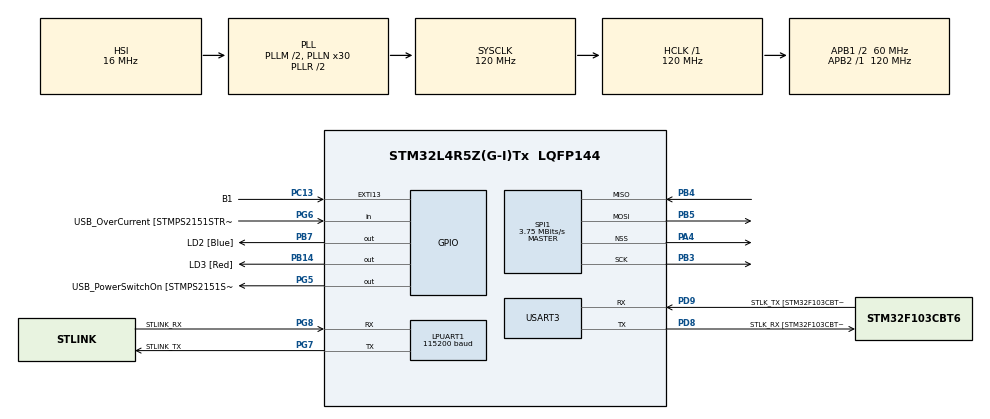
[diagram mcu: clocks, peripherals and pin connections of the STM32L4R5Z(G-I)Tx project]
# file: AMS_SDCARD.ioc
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FATFS._MAX_SS=4096
FATFS._USE_FIND=1
FATFS._USE_LFN=1
LPUART1.BaudRate=115200
LPUART1.WordLength=UART_WORDLENGTH_8B
Mcu.Family=STM32L4
Mcu.Name=STM32L4R5Z(G-I)Tx
Mcu.Package=LQFP144
NVIC.PriorityGroup=NVIC_PRIORITYGROUP_4
PA10.GPIO_Label=USB_ID
PA10.Signal=USB_OTG_FS_ID
PA11.GPIO_Label=USB_DM
PA11.Signal=USB_OTG_FS_DM
PA12.GPIO_Label=USB_DP
PA12.Signal=USB_OTG_FS_DP
PA13\ (JTMS/SWDIO).GPIO_Label=TMS
PA13\ (JTMS/SWDIO).Mode=Serial_Wire
PA13\ (JTMS/SWDIO).Signal=SYS_JTMS-SWDIO
PA14\ (JTCK/SWCLK).GPIO_Label=TCK
PA14\ (JTCK/SWCLK).Mode=Serial_Wire
PA14\ (JTCK/SWCLK).Signal=SYS_JTCK-SWCLK
PA4.Mode=NSS_Signal_Hard_Output
PA4.Signal=SPI1_NSS
PA8.GPIO_Label=USB_SOF [TP1]
PA8.Signal=USB_OTG_FS_SOF
PA9.GPIO_Label=USB_VBUS
PA9.Signal=USB_OTG_FS_VBUS
PB14.GPIO_Label=LD3 [Red]
PB14.Signal=GPIO_Output
PB3\ (JTDO/TRACESWO).Mode=Full_Duplex_Master
PB3\ (JTDO/TRACESWO).Signal=SPI1_SCK
PB4\ (NJTRST).Mode=Full_Duplex_Master
PB4\ (NJTRST).Signal=SPI1_MISO
PB5.Mode=Full_Duplex_Master
PB5.Signal=SPI1_MOSI
PB7.GPIO_Label=LD2 [Blue]
PB7.Signal=GPIO_Output
PC13.GPIO_Label=B1
PC13.Signal=GPXTI13
PC14-OSC32_IN\ (PC14).Mode=LSE-External-Oscillator
PC14-OSC32_IN\ (PC14).Signal=RCC_OSC32_IN
PC15-OSC32_OUT\ (PC15).Mode=LSE-External-Oscillator
PC15-OSC32_OUT\ (PC15).Signal=RCC_OSC32_OUT
PD8.GPIO_Label=STLK_RX [STM32F103CBT6_PA3]
PD8.Mode=Asynchronous
PD8.Signal=USART3_TX
PD9.GPIO_Label=STLK_TX [STM32F103CBT6_PA2]
PD9.Mode=Asynchronous
PD9.Signal=USART3_RX
PG5.GPIO_Label=USB_PowerSwitchOn [STMPS2151STR_EN]
PG5.Signal=GPIO_Output
PG6.GPIO_Label=USB_OverCurrent [STMPS2151STR_FAULT]
PG6.Signal=GPIO_Input
PG7.GPIO_Label=STLINK_TX
PG7.Mode=Asynchronous
PG7.Signal=LPUART1_TX
PG8.GPIO_Label=STLINK_RX
PG8.Mode=Asynchronous
PG8.Signal=LPUART1_RX
PH0-OSC_IN\ (PH0).Signal=RCC_OSC_IN
PH1-OSC_OUT\ (PH1).Signal=RCC_OSC_OUT
ProjectManager.HeapSize=0x400
ProjectManager.StackSize=0x800
ProjectManager.TargetToolchain=STM32CubeIDE
RCC.48MHZClocksFreq_Value=24000000
RCC.ADCFreq_Value=96000000
RCC.AHBFreq_Value=120000000
RCC.APB1CLKDivider=RCC_HCLK_DIV2
RCC.APB1Freq_Value=60000000
RCC.APB1TimFreq_Value=120000000
RCC.APB2Freq_Value=120000000
RCC.APB2TimFreq_Value=120000000
RCC.CK48CLockSelection=RCC_USBCLKSOURCE_HSI48
RCC.CortexFreq_Value=120000000
RCC.HCLKFreq_Value=120000000
RCC.HSE_VALUE=8000000
RCC.HSI48_VALUE=48000000
RCC.HSI_VALUE=16000000
RCC.MSI_VALUE=4000000
RCC.PLLM1=2
RCC.PLLMUL=RCC_PLL_MUL9
RCC.PLLN=30
RCC.PLLSAI1N=12
RCC.PLLSourceVirtual=RCC_PLLSOURCE_HSI
RCC.PRESCALERUSB=RCC_USBCLKSOURCE_PLL_DIV1_5
RCC.SYSCLKFreq_VALUE=120000000
RCC.SYSCLKSource=RCC_SYSCLKSOURCE_PLLCLK
RCC.SYSCLKSourceVirtual=RCC_SYSCLKSOURCE_PLLCLK
RCC.USBFreq_Value=48000000
RCC.VCOOutputFreq_Value=240000000
SPI1.BaudRatePrescaler=SPI_BAUDRATEPRESCALER_32
SPI1.CalculateBaudRate=3.75 MBits/s
SPI1.DataSize=SPI_DATASIZE_8BIT
SPI1.Direction=SPI_DIRECTION_2LINES
SPI1.Mode=SPI_MODE_MASTER
SPI1.VirtualNSS=VM_NSSHARD
SPI1.VirtualType=VM_MASTER
USART3.VirtualMode-Asynchronous=VM_ASYNC
VP_FATFS_VS_Generic.Mode=User_defined
board=NUCLEO-L4R5ZI

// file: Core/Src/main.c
/* USER CODE BEGIN Header */
/**
  ******************************************************************************
  * @file           : main.c
  * @brief          : Main program body
  ******************************************************************************
  * @attention
  *
  * Copyright (c) 2022 STMicroelectronics.
  * All rights reserved.
  *
  * This software is licensed under terms that can be found in the LICENSE file
  * in the root directory of this software component.
  * If no LICENSE file comes with this software, it is provided AS-IS.
  *
  ******************************************************************************
  */
/* USER CODE END Header */
#include "main.h"
#include "fatfs.h"

/* USER CODE BEGIN Includes */
#include "stm32l4xx_hal_uart.h"
#include "stm32l4xx_hal_uart_ex.h"
#include "string.h"
#include "sd_card.h"
#include "bitmap_driver.h"
//#include "diskio.h"
/* USER CODE END Includes */

UART_HandleTypeDef hlpuart1;
UART_HandleTypeDef huart3;

SPI_HandleTypeDef hspi1;

void SystemClock_Config(void);
static void MX_GPIO_Init(void);
static void MX_LPUART1_UART_Init(void);
static void MX_USART3_UART_Init(void);
static void MX_SPI1_Init(void);

/* USER CODE BEGIN 0 */
char uartbuffer[128];

void clearUartBuffer(){
	memset(uartbuffer,0,128);
}

void send_uart(char* string){
	uint8_t len = strlen(string);
	HAL_UART_Transmit(&hlpuart1, string, len, 1000);
	clearUartBuffer();
}

/* USER CODE END 0 */

int main(void)
{
  /* USER CODE BEGIN 1 */

	//FATFS variables
	FIL file;
	FATFS fs;
	FRESULT res;
	uint32_t total, free_space;
	DWORD fre_clu;
	BitmapHeader bmh;

	uint8_t pixelBuffer[37632];

	memset(pixelBuffer,0,37632);
	memset(&bmh,0,sizeof(BitmapHeader));
  /* USER CODE END 1 */

  /* MCU Configuration--------------------------------------------------------*/

  /* Reset of all peripherals, Initializes the Flash interface and the Systick. */
  HAL_Init();

  /* Configure the system clock */
  SystemClock_Config();

  /* Initialize all configured peripherals */
  MX_GPIO_Init();
  MX_LPUART1_UART_Init();
  MX_USART3_UART_Init();
  MX_SPI1_Init();
  MX_FATFS_Init();
  /* USER CODE BEGIN 2 */

  res = f_mount(&fs,"0", 0);
  if (res != FR_OK){
	  send_uart("Error mounting filesystem\n");
  } else {
	  send_uart("filesystem mounted\n");
  }
  res = f_getfree("0", &fre_clu, &fs);
  sprintf(uartbuffer, "f_getfree result: %d\n",res);
  send_uart(uartbuffer);
  total = (fs.n_fatent - 2) * fs.csize;
  free_space = fre_clu * fs.csize;
  sprintf(uartbuffer, "%10lu KiB total drive space.\n%10lu KiB available.\n", total / 2, free_space / 2);
  send_uart(uartbuffer);

  res = f_mount(&fs,"0", 0);
  bmh = bm_getBitmapHeader(&file, "MonkaS.bmp");

  //res = getImageData(&file, "MonkaS.bmp", 0, 128, (uint8_t*)pixelBuffer);
  bm_fillImageBuffer(&file, "MonkaS.bmp",pixelBuffer);

  DIR dj;
  FILINFO fno;
  res = f_findfirst(&dj, &fno, "", "*.bmp");
  sprintf(uartbuffer, "f_findfirst result: %d\n",res);
  send_uart(uartbuffer);
  sprintf(uartbuffer,"%s\n", fno.fname);
  send_uart(uartbuffer);

  f_mount(NULL, "0", 0);
  /* USER CODE END 2 */

  /* Infinite loop */
  while (1)
  {

  }
}

void SystemClock_Config(void)
{
  RCC_OscInitTypeDef RCC_OscInitStruct = {0};
  RCC_ClkInitTypeDef RCC_ClkInitStruct = {0};

  /** Configure the main internal regulator output voltage
  */
  if (HAL_PWREx_ControlVoltageScaling(PWR_REGULATOR_VOLTAGE_SCALE1_BOOST) != HAL_OK)
  {
    Error_Handler();
  }
  /** Initializes the RCC Oscillators according to the specified parameters
  * in the RCC_OscInitTypeDef structure.
  */
  RCC_OscInitStruct.OscillatorType = RCC_OSCILLATORTYPE_HSI;
  RCC_OscInitStruct.HSIState = RCC_HSI_ON;
  RCC_OscInitStruct.HSICalibrationValue = RCC_HSICALIBRATION_DEFAULT;
  RCC_OscInitStruct.PLL.PLLState = RCC_PLL_ON;
  RCC_OscInitStruct.PLL.PLLSource = RCC_PLLSOURCE_HSI;
  RCC_OscInitStruct.PLL.PLLM = 2;
  RCC_OscInitStruct.PLL.PLLN = 30;
  RCC_OscInitStruct.PLL.PLLP = RCC_PLLP_DIV2;
  RCC_OscInitStruct.PLL.PLLQ = RCC_PLLQ_DIV2;
  RCC_OscInitStruct.PLL.PLLR = RCC_PLLR_DIV2;
  if (HAL_RCC_OscConfig(&RCC_OscInitStruct) != HAL_OK)
  {
    Error_Handler();
  }
  /** Initializes the CPU, AHB and APB buses clocks
  */
  RCC_ClkInitStruct.ClockType = RCC_CLOCKTYPE_HCLK|RCC_CLOCKTYPE_SYSCLK
                              |RCC_CLOCKTYPE_PCLK1|RCC_CLOCKTYPE_PCLK2;
  RCC_ClkInitStruct.SYSCLKSource = RCC_SYSCLKSOURCE_PLLCLK;
  RCC_ClkInitStruct.AHBCLKDivider = RCC_SYSCLK_DIV1;
  RCC_ClkInitStruct.APB1CLKDivider = RCC_HCLK_DIV2;
  RCC_ClkInitStruct.APB2CLKDivider = RCC_HCLK_DIV1;

  if (HAL_RCC_ClockConfig(&RCC_ClkInitStruct, FLASH_LATENCY_5) != HAL_OK)
  {
    Error_Handler();
  }
}

static void MX_LPUART1_UART_Init(void)
{

  hlpuart1.Instance = LPUART1;
  hlpuart1.Init.BaudRate = 115200;
  hlpuart1.Init.WordLength = UART_WORDLENGTH_8B;
  hlpuart1.Init.StopBits = UART_STOPBITS_1;
  hlpuart1.Init.Parity = UART_PARITY_NONE;
  hlpuart1.Init.Mode = UART_MODE_TX_RX;
  hlpuart1.Init.HwFlowCtl = UART_HWCONTROL_NONE;
  hlpuart1.Init.OneBitSampling = UART_ONE_BIT_SAMPLE_DISABLE;
  hlpuart1.Init.ClockPrescaler = UART_PRESCALER_DIV1;
  hlpuart1.AdvancedInit.AdvFeatureInit = UART_ADVFEATURE_NO_INIT;
  hlpuart1.FifoMode = UART_FIFOMODE_DISABLE;
  if (HAL_UART_Init(&hlpuart1) != HAL_OK)
  {
    Error_Handler();
  }
  if (HAL_UARTEx_SetTxFifoThreshold(&hlpuart1, UART_TXFIFO_THRESHOLD_1_8) != HAL_OK)
  {
    Error_Handler();
  }
  if (HAL_UARTEx_SetRxFifoThreshold(&hlpuart1, UART_RXFIFO_THRESHOLD_1_8) != HAL_OK)
  {
    Error_Handler();
  }
  if (HAL_UARTEx_DisableFifoMode(&hlpuart1) != HAL_OK)
  {
    Error_Handler();
  }

}

static void MX_USART3_UART_Init(void)
{

  huart3.Instance = USART3;
  huart3.Init.BaudRate = 115200;
  huart3.Init.WordLength = UART_WORDLENGTH_8B;
  huart3.Init.StopBits = UART_STOPBITS_1;
  huart3.Init.Parity = UART_PARITY_NONE;
  huart3.Init.Mode = UART_MODE_TX_RX;
  huart3.Init.HwFlowCtl = UART_HWCONTROL_NONE;
  huart3.Init.OverSampling = UART_OVERSAMPLING_16;
  huart3.Init.OneBitSampling = UART_ONE_BIT_SAMPLE_DISABLE;
  huart3.Init.ClockPrescaler = UART_PRESCALER_DIV1;
  huart3.AdvancedInit.AdvFeatureInit = UART_ADVFEATURE_NO_INIT;
  if (HAL_UART_Init(&huart3) != HAL_OK)
  {
    Error_Handler();
  }
  if (HAL_UARTEx_SetTxFifoThreshold(&huart3, UART_TXFIFO_THRESHOLD_1_8) != HAL_OK)
  {
    Error_Handler();
  }
  if (HAL_UARTEx_SetRxFifoThreshold(&huart3, UART_RXFIFO_THRESHOLD_1_8) != HAL_OK)
  {
    Error_Handler();
  }
  if (HAL_UARTEx_DisableFifoMode(&huart3) != HAL_OK)
  {
    Error_Handler();
  }

}

static void MX_SPI1_Init(void)
{

  /* SPI1 parameter configuration*/
  hspi1.Instance = SPI1;
  hspi1.Init.Mode = SPI_MODE_MASTER;
  hspi1.Init.Direction = SPI_DIRECTION_2LINES;
  hspi1.Init.DataSize = SPI_DATASIZE_8BIT;
  hspi1.Init.CLKPolarity = SPI_POLARITY_LOW;
  hspi1.Init.CLKPhase = SPI_PHASE_1EDGE;
  hspi1.Init.NSS = SPI_NSS_HARD_OUTPUT;
  hspi1.Init.BaudRatePrescaler = SPI_BAUDRATEPRESCALER_32;
  hspi1.Init.FirstBit = SPI_FIRSTBIT_MSB;
  hspi1.Init.TIMode = SPI_TIMODE_DISABLE;
  hspi1.Init.CRCCalculation = SPI_CRCCALCULATION_DISABLE;
  hspi1.Init.CRCPolynomial = 7;
  hspi1.Init.CRCLength = SPI_CRC_LENGTH_DATASIZE;
  hspi1.Init.NSSPMode = SPI_NSS_PULSE_ENABLE;
  if (HAL_SPI_Init(&hspi1) != HAL_OK)
  {
    Error_Handler();
  }

}

static void MX_GPIO_Init(void)
{
  GPIO_InitTypeDef GPIO_InitStruct = {0};

  /* GPIO Ports Clock Enable */
  __HAL_RCC_GPIOC_CLK_ENABLE();
  __HAL_RCC_GPIOH_CLK_ENABLE();
  __HAL_RCC_GPIOA_CLK_ENABLE();
  __HAL_RCC_GPIOB_CLK_ENABLE();
  __HAL_RCC_GPIOD_CLK_ENABLE();
  __HAL_RCC_GPIOG_CLK_ENABLE();
  HAL_PWREx_EnableVddIO2();

  /*Configure GPIO pin Output Level */
  HAL_GPIO_WritePin(GPIOB, LD3_Pin|LD2_Pin, GPIO_PIN_RESET);

  /*Configure GPIO pin Output Level */
  HAL_GPIO_WritePin(USB_PowerSwitchOn_GPIO_Port, USB_PowerSwitchOn_Pin, GPIO_PIN_RESET);

  /*Configure GPIO pin : B1_Pin */
  GPIO_InitStruct.Pin = B1_Pin;
  GPIO_InitStruct.Mode = GPIO_MODE_IT_RISING;
  GPIO_InitStruct.Pull = GPIO_NOPULL;
  HAL_GPIO_Init(B1_GPIO_Port, &GPIO_InitStruct);

  /*Configure GPIO pins : LD3_Pin LD2_Pin */
  GPIO_InitStruct.Pin = LD3_Pin|LD2_Pin;
  GPIO_InitStruct.Mode = GPIO_MODE_OUTPUT_PP;
  GPIO_InitStruct.Pull = GPIO_NOPULL;
  GPIO_InitStruct.Speed = GPIO_SPEED_FREQ_LOW;
  HAL_GPIO_Init(GPIOB, &GPIO_InitStruct);

  /*Configure GPIO pin : USB_PowerSwitchOn_Pin */
  GPIO_InitStruct.Pin = USB_PowerSwitchOn_Pin;
  GPIO_InitStruct.Mode = GPIO_MODE_OUTPUT_PP;
  GPIO_InitStruct.Pull = GPIO_NOPULL;
  GPIO_InitStruct.Speed = GPIO_SPEED_FREQ_LOW;
  HAL_GPIO_Init(USB_PowerSwitchOn_GPIO_Port, &GPIO_InitStruct);

  /*Configure GPIO pin : USB_OverCurrent_Pin */
  GPIO_InitStruct.Pin = USB_OverCurrent_Pin;
  GPIO_InitStruct.Mode = GPIO_MODE_INPUT;
  GPIO_InitStruct.Pull = GPIO_NOPULL;
  HAL_GPIO_Init(USB_OverCurrent_GPIO_Port, &GPIO_InitStruct);

  /*Configure GPIO pins : USB_SOF_Pin USB_ID_Pin USB_DM_Pin USB_DP_Pin */
  GPIO_InitStruct.Pin = USB_SOF_Pin|USB_ID_Pin|USB_DM_Pin|USB_DP_Pin;
  GPIO_InitStruct.Mode = GPIO_MODE_AF_PP;
  GPIO_InitStruct.Pull = GPIO_NOPULL;
  GPIO_InitStruct.Speed = GPIO_SPEED_FREQ_VERY_HIGH;
  GPIO_InitStruct.Alternate = GPIO_AF10_OTG_FS;
  HAL_GPIO_Init(GPIOA, &GPIO_InitStruct);

  /*Configure GPIO pin : USB_VBUS_Pin */
  GPIO_InitStruct.Pin = USB_VBUS_Pin;
  GPIO_InitStruct.Mode = GPIO_MODE_INPUT;
  GPIO_InitStruct.Pull = GPIO_NOPULL;
  HAL_GPIO_Init(USB_VBUS_GPIO_Port, &GPIO_InitStruct);

}

void Error_Handler(void)
{
  /* USER CODE BEGIN Error_Handler_Debug */
  /* User can add his own implementation to report the HAL error return state */
  __disable_irq();
  while (1)
  {
	  HAL_GPIO_TogglePin(LD2_GPIO_Port, LD2_Pin);
	  HAL_Delay(1000);
  }
  /* USER CODE END Error_Handler_Debug */
}
